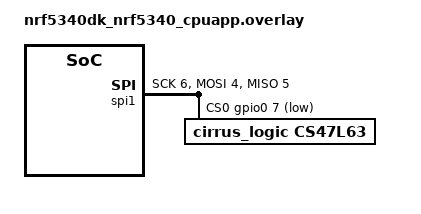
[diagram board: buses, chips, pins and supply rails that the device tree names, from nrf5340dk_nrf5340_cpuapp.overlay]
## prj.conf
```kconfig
CONFIG_SERIAL=y
#CONFIG_TRUSTED_EXECUTION_NONSECURE=y
#CONFIG_UART_INTERRUPT_DRIVEN=y
#CONFIG_UART_0_NRF_UARTE=y


# SPI
CONFIG_SPI=y
CONFIG_NRFX_SPIM=y
CONFIG_NRFX_SPIM1=y
CONFIG_SPI_ASYNC=n
CONFIG_SPI_LOG_LEVEL_INF=y
```

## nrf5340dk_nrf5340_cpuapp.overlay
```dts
&spi1 {
	compatible = "nordic,nrf-spim";
	status = "ok";
	mosi-pin = <4>;
	miso-pin = <5>;	//<10>;	//<5>;
	sck-pin = <6>;
	cs-gpios = < &gpio0 7 0x1 >; // gpio: p0.07
	cs47l63@0 {
		compatible = "cirrus_logic,cs47l63";
		label = "CS47L63";
		reg = <0>;	
	};	
};

&spi2 {
	status = "disabled";
};

&i2c1 {
    status = "disabled";
};
```

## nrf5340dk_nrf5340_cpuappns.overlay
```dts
&spi1 {
	compatible = "nordic,nrf-spim";
	status = "ok";
	mosi-pin = <4>;
	miso-pin = <5>;	//<10>;	//<5>;
	sck-pin = <6>;
};

&spi2 {
	status = "disabled";
};

&i2c1 {
    status = "disabled";
};
```

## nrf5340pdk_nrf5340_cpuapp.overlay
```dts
&spi1 {
	compatible = "nordic,nrf-spim";
	status = "ok";
	mosi-pin = <4>;
	miso-pin = <5>;	//<10>;	//<5>;
	sck-pin = <6>;
};

//&spi2 {
//	status = "disabled";
//};

&i2c1 {
    status = "disabled";
};
```

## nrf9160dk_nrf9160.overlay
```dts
/*  */
&spi3 {
	compatible = "nordic,nrf-spim";
	status = "ok";
	mosi-pin = <18>;
	miso-pin = <17>;	//<10>;	//<5>;
	sck-pin = <19>;
	cs-gpios = < &gpio0 16 0x1 >; // gpio: p0.19
	cs47l63@0 {
		compatible = "cirrus_logic,cs47l63";
		label = "CS47L63";
		reg = <0>;	
	};		
};



&i2c1 {
    status = "disabled";
};
&i2c2 {
    status = "disabled";
};
```

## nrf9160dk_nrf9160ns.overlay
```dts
/*  */
&spi3 {
	compatible = "nordic,nrf-spim";
	status = "ok";
	mosi-pin = <18>;
	miso-pin = <17>;	//<10>;	//<5>;
	sck-pin = <19>;
	cs-gpios = < &gpio0 16 0x1 >; // gpio: p0.19
	cs47l63@0 {
		compatible = "cirrus_logic,cs47l63";
		label = "CS47L63";
		reg = <0>;	
	};		
};

&spi2 {
	status = "disabled";
};

&i2c1 {
    status = "disabled";
};
```

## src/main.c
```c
/*

* Copyright (c) 2012-2014 Wind River Systems, Inc.

*

* SPDX-License-Identifier: Apache-2.0

*/

#define TEST_SPI_CS_EN 1
#define SPI_CS_CFG_FROM_DTS 1

#if SPI_CS_CFG_FROM_DTS
#define DT_DRV_COMPAT cirrus_logic_cs47l63
#endif

#include <zephyr.h>
#include <sys/printk.h>

#include <drivers/spi.h>

/* including 

	const struct device	*gpio_dev;
	uint32_t		delay;
	gpio_pin_t		gpio_pin;
	gpio_dt_flags_t		gpio_dt_flags;
*/

#if TEST_SPI_CS_EN
struct spi_cs_control cs_ctrl;
#endif

static struct spi_config spi_cfg = {
	.operation = SPI_WORD_SET(8) | SPI_TRANSFER_MSB | SPI_MODE_CPOL |
		     SPI_MODE_CPHA,
	.frequency = 4000000,
	.slave = 0,
};

const struct device *spi_dev;

static void spi_init(void)
{
#if TEST_SPI_CS_EN
#if !SPI_CS_CFG_FROM_DTS
	/* A quick dirty way to add CS to SPI Master to control slave CS  */
	cs_ctrl.delay =
		0U; /* us time setup CS before and after SPI activities   */
	cs_ctrl.gpio_pin = 7; /* px.07; GPIO_0 -> p0.07 */
	cs_ctrl.gpio_dt_flags = GPIO_ACTIVE_LOW;
	cs_ctrl.gpio_dev = device_get_binding("GPIO_0");

	if (!cs_ctrl.gpio_dev) {
		printk("Unable to get GPIO SPI CS device");
		return;
	}
#else

/* require dts overlay includes the cs pin details, propery device driver setup.*/
#if DT_INST_SPI_DEV_HAS_CS_GPIOS(0)
	cs_ctrl.delay = 0U;
	cs_ctrl.gpio_pin =
		DT_INST_SPI_DEV_CS_GPIOS_PIN(0); /* px.07; GPIO_0 -> p0.07 */
	cs_ctrl.gpio_dt_flags = DT_INST_SPI_DEV_CS_GPIOS_FLAGS(0);
	cs_ctrl.gpio_dev =
		device_get_binding(DT_INST_SPI_DEV_CS_GPIOS_LABEL(0));

	if (!cs_ctrl.gpio_dev) {
		printk("Unable to get GPIO SPI CS device");
		return;
	}

#endif
#endif
	spi_cfg.cs = &cs_ctrl;
#endif
	const char *const spiName = "SPI_1";
	spi_dev = device_get_binding(spiName);

	if (spi_dev == NULL) {
		printk("Could not get %s device\n", spiName);
		return;
	}
}

void spi_test_send(void)
{
	int err;
	static uint8_t tx_buffer[1];
	static uint8_t rx_buffer[1];

	const struct spi_buf tx_buf = { .buf = tx_buffer,
					.len = sizeof(tx_buffer) };
	const struct spi_buf_set tx = { .buffers = &tx_buf, .count = 1 };

	struct spi_buf rx_buf = {
		.buf = rx_buffer,
		.len = sizeof(rx_buffer),
	};
	const struct spi_buf_set rx = { .buffers = &rx_buf, .count = 1 };

	err = spi_transceive(spi_dev, &spi_cfg, &tx, &rx);
	if (err) {
		printk("SPI error: %d\n", err);
	} else {
		/* Connect MISO to MOSI for loopback */
		printk("TX sent: %x\n", tx_buffer[0]);
		printk("RX recv: %x\n", rx_buffer[0]);
		tx_buffer[0]++;
	}
}

void main(void)
{
	printk("SPIM Example\n");
	spi_init();

	while (1) {
		spi_test_send();
		k_msleep(1000);
	}
}
```
